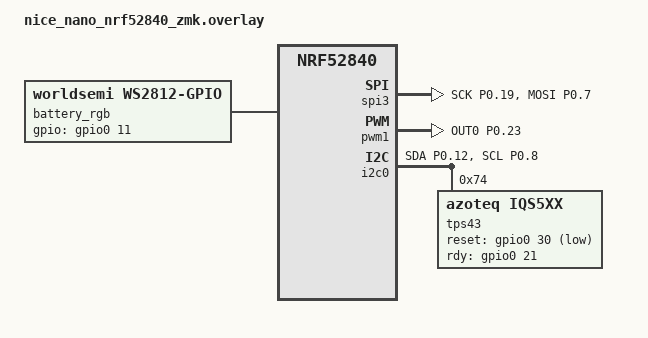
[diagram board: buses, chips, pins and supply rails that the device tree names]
/*
 * Custom Prospector / TPS / RGB pin wiring for the Velvet dongle.
 *
 * This board overlay is processed AFTER prospector_adapter's own
 * nice_nano board overlay (shield order is reversed in build.yaml),
 * so the custom pins below override prospector_adapter's defaults.
 *
 *   Prospector ST7789V (SPI3 + MIPI-DBI):
 *     SCL (SCK) = P0.19
 *     SDA (MOSI)= P0.07
 *     CS        = P0.17
 *     DC        = P0.14
 *     RES       = P0.03
 *     BLK (PWM) = P0.23
 *
 *   TPS43 touchpad (I2C0):
 *     SCL = P0.08
 *     SDA = P0.12
 *     RST = P0.30
 *     INT = P0.21
 *
 *   WS2812 battery indicator:
 *     DIN = P0.11
 */

#include <zephyr/dt-bindings/gpio/gpio.h>
#include <zephyr/dt-bindings/led/led.h>

&pinctrl {
    velvet_spi3_default: velvet_spi3_default {
        group1 {
            psels = <NRF_PSEL(SPIM_SCK, 0, 19)>,
                    <NRF_PSEL(SPIM_MOSI, 0, 7)>;
        };
    };
    velvet_spi3_sleep: velvet_spi3_sleep {
        group1 {
            psels = <NRF_PSEL(SPIM_SCK, 0, 19)>,
                    <NRF_PSEL(SPIM_MOSI, 0, 7)>;
            low-power-enable;
        };
    };

    velvet_pwm1_default: velvet_pwm1_default {
        group1 {
            psels = <NRF_PSEL(PWM_OUT0, 0, 23)>;
            nordic,invert;
        };
    };
    velvet_pwm1_sleep: velvet_pwm1_sleep {
        group1 {
            psels = <NRF_PSEL(PWM_OUT0, 0, 23)>;
            low-power-enable;
        };
    };

    velvet_i2c0_default: velvet_i2c0_default {
        group1 {
            psels = <NRF_PSEL(TWIM_SDA, 0, 12)>,
                    <NRF_PSEL(TWIM_SCL, 0, 8)>;
        };
    };
    velvet_i2c0_sleep: velvet_i2c0_sleep {
        group1 {
            psels = <NRF_PSEL(TWIM_SDA, 0, 12)>,
                    <NRF_PSEL(TWIM_SCL, 0, 8)>;
            low-power-enable;
        };
    };
};

disp_spi: &spi3 {
    pinctrl-0 = <&velvet_spi3_default>;
    pinctrl-1 = <&velvet_spi3_sleep>;
    cs-gpios = <&gpio0 17 GPIO_ACTIVE_LOW>;
};

&pwm1 {
    pinctrl-0 = <&velvet_pwm1_default>;
    pinctrl-1 = <&velvet_pwm1_sleep>;
};

&i2c0 {
    status = "okay";
    compatible = "nordic,nrf-twim";
    pinctrl-0 = <&velvet_i2c0_default>;
    pinctrl-1 = <&velvet_i2c0_sleep>;
    pinctrl-names = "default", "sleep";

    tps43: iqs5xx@74 {
        compatible = "azoteq,iqs5xx";
        reg = <0x74>;
        status = "okay";
        reset-gpios = <&gpio0 30 GPIO_ACTIVE_LOW>;
        rdy-gpios = <&gpio0 21 GPIO_ACTIVE_HIGH>;
        one-finger-tap;
        two-finger-tap;
        scroll;
    };
};

/ {
    mipi_dbi {
        dc-gpios = <&gpio0 14 GPIO_ACTIVE_HIGH>;
        reset-gpios = <&gpio0 3 GPIO_ACTIVE_LOW>;
    };

    tps43_input: tps43_input {
        compatible = "zmk,input-listener";
        device = <&tps43>;
    };

    battery_rgb: battery_rgb {
        compatible = "worldsemi,ws2812-gpio";
        chain-length = <1>;
        color-mapping = <LED_COLOR_ID_GREEN LED_COLOR_ID_RED LED_COLOR_ID_BLUE>;
        gpios = <&gpio0 11 GPIO_ACTIVE_HIGH>;
    };
};
